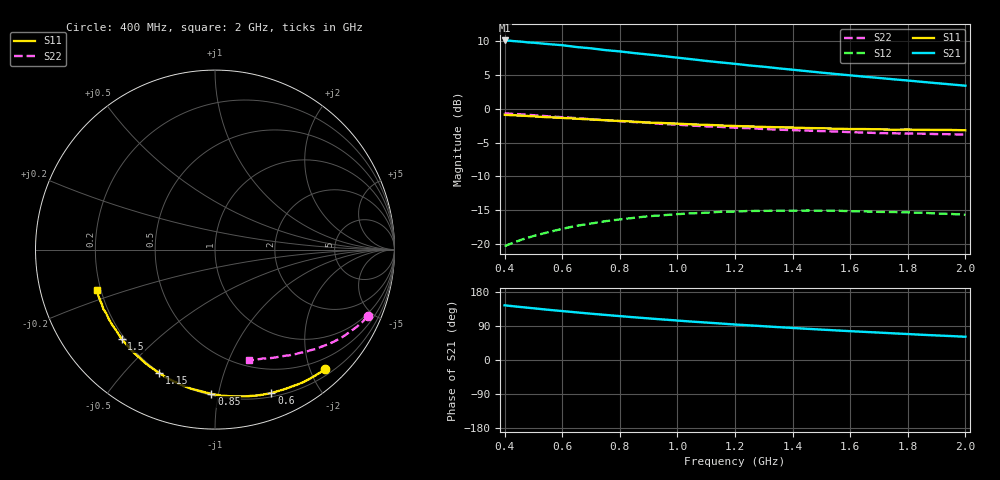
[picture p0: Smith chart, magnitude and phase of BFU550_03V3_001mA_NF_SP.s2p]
! Filename:  P:\Prog\Test\Noise\ATS_data\Testdata_Net\06 Compressed Noise after Statistics\BFU550_APG2013_43_D05_03p3V_001mA_NF_CM01_D.sf
! Date/Time: Fri 26/Apr/2013 13:07:19
! BFU550_APG2013_43_D05_03p3V_1to35mA_NF_CM01_Bias1_R.sf
! Noise Parameter Data File
! BFU550_APG2013_43_D05_03p3V_1to35mA_NF_CM01
! Date/time: Thu Apr 25 15:07:57 2013
! freq range =  0.4000 to  2.0000 GHz, 37 points
! bias range =  1.0000 to 35.0000 mA, 8 points
! bias supplies used: 1 1 0 0 0 0
! VAR bias_mode= 1  ! Specify V_out, I_out
! VAR bias_var = 1  ! Bias variable = I_out
! VAR V_out= 3.300000
! VAR I_out= 1.000000
! VAR V_in= 0.778500
! VAR I_in= 0.010800
! Device data file deembeded for feedlines and parallel
! Original file: \06 Compressed Noise after Statistics\BFU550_APG2013_43_D05_03p3V_001mA_NF_CM01_R.sf
! Feed-files: PR047V01_250413_Feed1.s2p, PR047V01_250413_Feed2.s2p
! Parallel-file: PR047V01_250413_Par.s2p
# MHz S MA R 50
!  Freq-MHz  S11-mag  S11-arg  S21-mag  S21-arg  S12-mag  S12-arg  S22-mag  S22-arg
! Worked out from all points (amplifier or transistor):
!   37 points, 400 MHz to 2 GHz, reference 50 ohm
!   highest |S21| = 10.1 dB at 400 MHz (marker M1)
!   |S21| within 3 dB of that: start of sweep to 1.094 GHz
!   unconditionally stable (mu >= 1): nowhere
!   at 500 MHz: K = 0.14, MSG = 14.3 dB, |S12| = -18.8 dB
!   at 1.1 GHz: K = 0.29, MSG = 11.2 dB, |S12| = -15.4 dB
!   at 2 GHz: K = 0.55, MSG = 9.6 dB, |S12| = -15.7 dB
!   lowest NFmin = 0.42 dB at 1.8 GHz
!   S11 on the Smith chart (normalised r, x): 400 MHz: 0.30, -2.24; 600 MHz: 0.24, -1.44; 850 MHz: 0.21, -0.95; 1.15 GHz: 0.20, -0.63; 1.5 GHz: 0.19, -0.39; 2 GHz: 0.18, -0.16
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400  0.9053 -47.5  3.217 144.3  0.09634 60.0  0.928 -23.6
420  0.9006 -49.7  3.201 142.7  0.1002 58.7  0.9222 -24.7
440  0.8962 -51.9  3.175 141.1  0.104 57.4  0.9172 -25.7
480  0.8877 -56.1  3.112 138.0  0.1111 54.8  0.905 -27.7
500  0.882 -58.3  3.096 136.5  0.1145 53.5  0.899 -28.6
550  0.8683 -63.6  3.025 132.6  0.1221 50.5  0.8827 -31.0
600  0.8588 -68.6  2.968 129.1  0.1295 47.6  0.8685 -33.2
650  0.8475 -73.3  2.875 125.6  0.1364 44.9  0.8551 -35.3
700  0.8355 -78.2  2.813 122.2  0.1417 42.0  0.8398 -37.4
750  0.825 -82.6  2.728 119.0  0.1475 39.6  0.8267 -39.2
800  0.8152 -87.2  2.669 115.8  0.1521 37.1  0.812 -41.2
850  0.8046 -91.4  2.594 112.7  0.1563 34.8  0.7994 -42.8
950  0.7866 -99.6  2.467 106.9  0.1632 30.3  0.7744 -46.3
1050  0.7689 -107.3  2.334 101.3  0.1686 26.2  0.7532 -49.4
1150  0.7549 -114.3  2.212 96.3  0.1731 22.5  0.7367 -52.1
1200  0.7478 -117.9  2.159 93.7  0.1739 20.6  0.7258 -53.7
1350  0.7319 -127.3  2.001 86.8  0.1763 15.8  0.7029 -57.6
1500  0.7198 -136.3  1.859 80.2  0.1767 11.3  0.686 -61.4
1600  0.7102 -141.9  1.774 76.0  0.175 8.5  0.6734 -63.9
1750  0.7026 -149.6  1.658 70.3  0.1725 5.0  0.6608 -67.2
1850  0.7003 -154.5  1.588 66.5  0.1705 2.8  0.6561 -69.4
2000  0.6955 -161.2  1.487 61.4  0.1644 -0.1  0.6456 -72.8
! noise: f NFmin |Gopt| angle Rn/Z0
400  0.5379  0.6546  31.38  0.3141
460  0.5559  0.635  37.46  0.3155
600  0.5828  0.6433  47.55  0.2899
800  0.6883  0.6411  62.28  0.2844
1000  0.7609  0.6453  76.12  0.2672
1200  0.8666  0.6424  89.75  0.2452
1400  0.8967  0.6391  104.8  0.1769
1600  0.8601  0.6109  119.8  0.1305
1800  0.4231  0.6176  134.4  0.0635
2000  1.223  0.6725  144  0.0885
